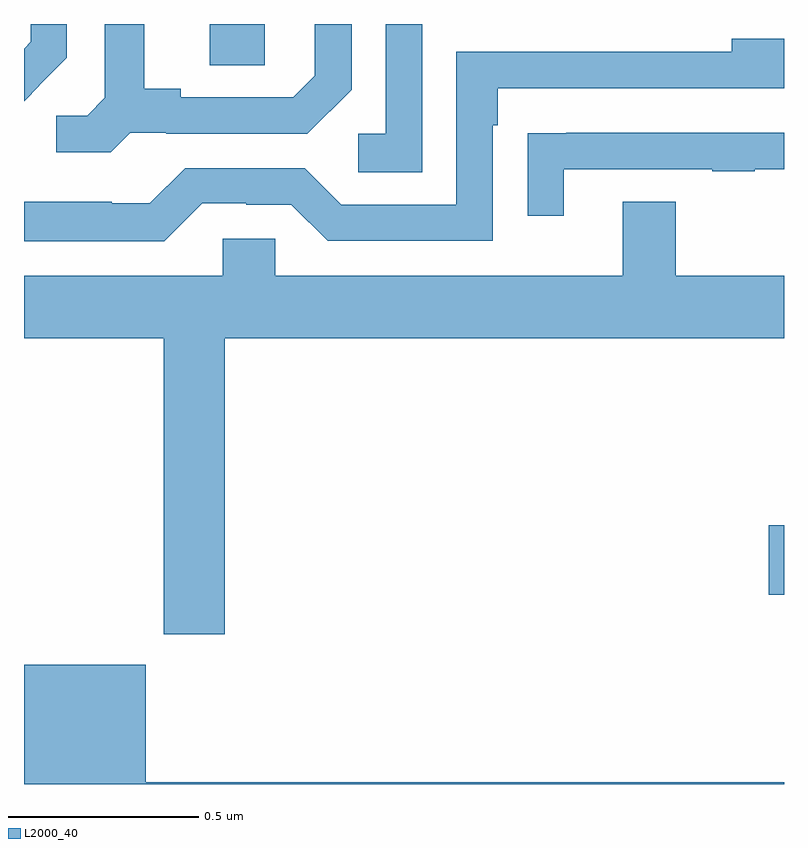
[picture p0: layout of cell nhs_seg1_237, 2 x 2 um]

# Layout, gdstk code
import gdstk
lib = gdstk.Library(unit=1e-6, precision=1e-09)
def R(c, l, rs):  # rectangles x0, y0, x1, y1
    for r in rs: c.add(gdstk.rectangle(r[:2], r[2:], *l))
def P(c, l, *ps):  # polygons
    for p in ps: c.add(gdstk.Polygon(p, *l))
L2000_40 = (2000, 40)

nhs_seg1_237 = lib.new_cell('nhs_seg1_237')
R(nhs_seg1_237, L2000_40, [(114.96,577.697,115,577.88), (113.489,579.091,113.634,579.199)])
P(nhs_seg1_237, L2000_40, [(114.048,579.199),(113.952,579.199),(113.952,578.91),(113.88,578.91),(113.88,578.809),(114.048,578.809)],
  [(113.04,579.036),(113.039,579.037),(113.112,579.11),(113.112,579.199),(113.018,579.199),(113.018,579.152),(113,579.134),(113,578.996)],
  [(113.28,578.913),(113.374,578.913),(113.374,578.91),(113.746,578.91),(113.862,579.026),(113.862,579.199),(113.765,579.199),(113.765,579.063),(113.708,579.006),(113.413,579.006),(113.413,579.029),(113.317,579.029),(113.317,579.199),(113.213,579.199),(113.213,579.005),(113.166,578.958),(113.085,578.958),(113.085,578.861),(113.228,578.861)],
  [(113.469,578.727),(113.585,578.727),(113.585,578.724),(113.703,578.724),(113.799,578.628),(114.234,578.628),(114.234,578.933),(114.247,578.933),(114.247,579.03),(115,579.03),(115,579.16),(114.863,579.16),(114.863,579.126),(114.138,579.126),(114.138,578.724),(113.835,578.724),(113.739,578.82),(113.424,578.82),(113.331,578.727),(113.231,578.727),(113.231,578.731),(113,578.731),(113,578.627),(113.369,578.627)],
  [(114.421,578.817),(114.811,578.817),(114.811,578.812),(114.923,578.812),(114.923,578.817),(115,578.817),(115,578.913),(114.427,578.913),(114.427,578.912),(114.325,578.912),(114.325,578.694),(114.421,578.694)],
  [(113.528,578.372),(115,578.372),(115,578.536),(114.715,578.536),(114.715,578.731),(114.575,578.731),(114.575,578.536),(113.661,578.536),(113.661,578.634),(113.523,578.634),(113.523,578.536),(113,578.536),(113,578.372),(113.368,578.372),(113.368,577.593),(113.528,577.593)],
  [(115,577.204),(113.32,577.204),(113.32,577.513),(113,577.513),(113,577.199),(115,577.199)])

lib.write_gds('nhs_seg1_237.gds')
